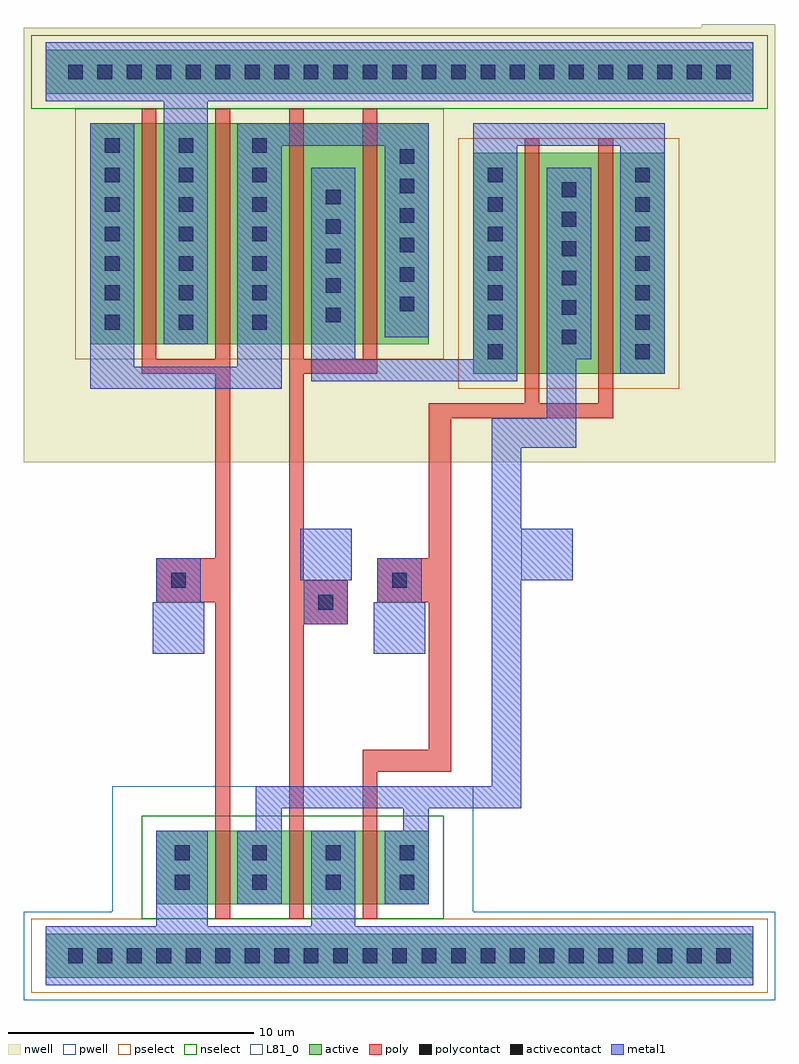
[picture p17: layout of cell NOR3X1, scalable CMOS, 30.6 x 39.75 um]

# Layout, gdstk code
import gdstk
lib = gdstk.Library(unit=1e-6, precision=1e-09)
def R(c, l, rs):  # rectangles x0, y0, x1, y1
    for r in rs: c.add(gdstk.rectangle(r[:2], r[2:], *l))
def A(c, l, x, y, w, h, nx, ny, dx, dy):  # array of equal rectangles
    R(c, l, [(x+i*dx, y+j*dy, x+i*dx+w, y+j*dy+h) for i in range(nx) for j in range(ny)])
pwell = (41, 0)
nwell = (42, 0)
active = (43, 0)
pselect = (44, 0)
nselect = (45, 0)
poly = (46, 0)
polycontact = (47, 0)
activecontact = (48, 0)
metal1 = (49, 0)
L81_0 = (81, 0)

nor3x1 = lib.new_cell('NOR3X1')
R(nor3x1, pwell, [(-1.8,-1.8,28.8,1.8), (1.8,1.8,16.5,6.9)])
R(nor3x1, nwell, [(-1.8,20.1,28.8,37.8), (25.8,37.8,28.8,37.95)])
R(nor3x1, active, [(-0.9,-0.9,27.9,0.9), (3.6,2.1,14.7,5.1), (16.5,23.7,24.3,32.7), (0.9,24.9,14.7,33.9), (-0.9,35.1,27.9,36.9)])
R(nor3x1, pselect, [(-1.5,-1.5,28.5,1.5), (15.9,23.1,24.9,33.3), (0.3,24.3,15.3,34.5)])
R(nor3x1, nselect, [(3,1.5,15.3,5.7), (-1.5,34.5,28.5,37.5)])
A(nor3x1, poly, 3, 24.3, 0.6, 10.2, 4, 1, 3, 0)
R(nor3x1, poly, [(6,1.5,6.6,14.4), (9,1.5,9.6,13.5), (12,1.5,12.6,7.5), (12,7.5,15.6,8.4), (14.7,8.4,15.6,14.4), (9,13.5,11.4,15.3), (3.6,14.4,6.6,16.2), (12.6,14.4,15.6,16.2), (9,15.3,9.6,23.7), (6,16.2,6.6,23.7), (14.7,16.2,15.6,21.9), (14.7,21.9,22.2,22.5), (18.6,22.5,19.2,33.3), (21.6,22.5,22.2,33.3), (3,23.7,6.6,24.3), (9,23.7,12.6,24.3)])
R(nor3x1, polycontact, [(10.2,14.1,10.8,14.7), (4.2,15,4.8,15.6), (13.2,15,13.8,15.6)])
A(nor3x1, activecontact, 0, -0.3, 0.6, 0.6, 23, 2, 1.2, 36)
A(nor3x1, activecontact, 7.5, 2.7, 0.6, 0.6, 3, 2, 3, 1.2)
A(nor3x1, activecontact, 17.1, 24.3, 0.6, 0.6, 1, 7, 0, 1.2)
A(nor3x1, activecontact, 23.1, 24.3, 0.6, 0.6, 1, 7, 0, 1.2)
A(nor3x1, activecontact, 20.1, 24.9, 0.6, 0.6, 1, 6, 0, 1.2)
A(nor3x1, activecontact, 1.5, 25.5, 0.6, 0.6, 3, 7, 3, 1.2)
A(nor3x1, activecontact, 10.5, 25.8, 0.6, 0.6, 1, 5, 0, 1.2)
A(nor3x1, activecontact, 13.5, 26.25, 0.6, 0.6, 1, 6, 0, 1.2)
R(nor3x1, activecontact, [(4.35,2.7,4.95,3.3), (4.35,3.9,4.95,4.5)])
R(nor3x1, metal1, [(-0.9,-1.2,27.9,1.2), (3.6,1.2,5.7,5.1), (9.9,1.2,11.7,5.1), (6.9,2.1,8.7,5.1), (12.9,2.1,14.7,5.1), (7.65,5.1,8.7,6), (13.65,5.1,14.7,6), (7.65,6,18.45,6.9), (17.25,6.9,18.45,15.3), (3.45,12.3,5.55,14.4), (12.45,12.3,14.55,14.4), (9.6,13.5,11.4,15.3), (3.6,14.4,5.4,16.2), (12.6,14.4,14.4,16.2), (9.45,15.3,11.55,17.4), (17.25,15.3,20.55,17.4), (17.25,17.4,18.45,20.7), (17.25,20.7,20.7,21.9), (19.5,21.9,20.7,24.3), (0.9,23.1,8.7,24), (9.9,23.4,18.3,24.3), (22.5,23.7,24.3,33), (0.9,24,2.7,33.9), (6.9,24,8.7,33), (9.9,24.3,11.7,32.1), (16.5,24.3,18.3,33), (19.5,24.3,21.3,32.1), (3.9,24.9,5.7,34.8), (12.9,25.2,14.7,33), (6.9,33,14.7,33.9), (16.5,33,24.3,33.9), (-0.9,34.8,27.9,37.2)])
R(nor3x1, L81_0, [(3.45,12.3,5.55,14.4), (12.45,12.3,14.55,14.4), (9.45,15.3,11.55,17.4), (18.45,15.3,20.55,17.4)])

lib.write_gds('NOR3X1.gds')
